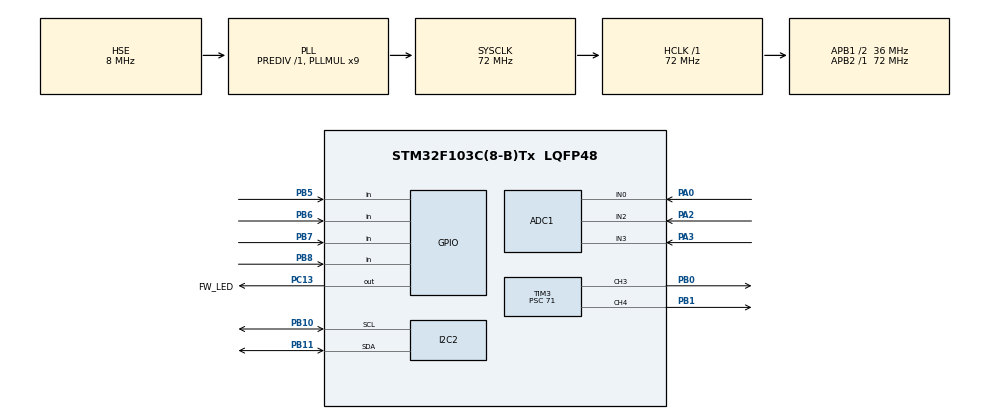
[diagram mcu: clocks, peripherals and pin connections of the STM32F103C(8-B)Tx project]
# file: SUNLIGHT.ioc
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ADC1.Channel-0\#ChannelRegularConversion=ADC_CHANNEL_0
ADC1.NbrOfConversionFlag=1
ADC1.Rank-0\#ChannelRegularConversion=1
ADC1.SamplingTime-0\#ChannelRegularConversion=ADC_SAMPLETIME_55CYCLES_5
ADC1.master=1
Mcu.Family=STM32F1
Mcu.Name=STM32F103C(8-B)Tx
Mcu.Package=LQFP48
NVIC.PriorityGroup=NVIC_PRIORITYGROUP_4
NVIC.TIM1_UP_IRQn=true\:0\:0\:false\:false\:true\:true\:true\:true
PA0-WKUP.Signal=ADCx_IN0
PA13.Mode=Serial_Wire
PA13.Signal=SYS_JTMS-SWDIO
PA14.Mode=Serial_Wire
PA14.Signal=SYS_JTCK-SWCLK
PA2.Signal=ADCx_IN2
PA3.Signal=ADCx_IN3
PB0.Signal=S_TIM3_CH3
PB1.Signal=S_TIM3_CH4
PB10.Mode=I2C
PB10.Signal=I2C2_SCL
PB11.Mode=I2C
PB11.Signal=I2C2_SDA
PB5.GPIO_PuPd=GPIO_NOPULL
PB5.Signal=GPIO_Input
PB6.GPIO_PuPd=GPIO_NOPULL
PB6.Signal=GPIO_Input
PB7.GPIO_PuPd=GPIO_NOPULL
PB7.Signal=GPIO_Input
PB8.GPIO_PuPd=GPIO_NOPULL
PB8.Signal=GPIO_Input
PC13-TAMPER-RTC.GPIO_Label=FW_LED
PC13-TAMPER-RTC.PinState=GPIO_PIN_SET
PC13-TAMPER-RTC.Signal=GPIO_Output
PD0-OSC_IN.Mode=HSE-External-Oscillator
PD0-OSC_IN.Signal=RCC_OSC_IN
PD1-OSC_OUT.Mode=HSE-External-Oscillator
PD1-OSC_OUT.Signal=RCC_OSC_OUT
ProjectManager.HeapSize=0x200
ProjectManager.StackSize=0x400
ProjectManager.TargetToolchain=MDK-ARM V5.32
RCC.ADCPresc=RCC_ADCPCLK2_DIV6
RCC.AHBFreq_Value=72000000
RCC.APB1CLKDivider=RCC_HCLK_DIV2
RCC.APB1Freq_Value=36000000
RCC.APB1TimFreq_Value=72000000
RCC.APB2Freq_Value=72000000
RCC.APB2TimFreq_Value=72000000
RCC.HCLKFreq_Value=72000000
RCC.PLLMUL=RCC_PLL_MUL9
RCC.PLLSourceVirtual=RCC_PLLSOURCE_HSE
RCC.SYSCLKFreq_VALUE=72000000
RCC.SYSCLKSource=RCC_SYSCLKSOURCE_PLLCLK
RCC.USBFreq_Value=72000000
SH.ADCx_IN0.0=ADC1_IN0,IN0
SH.ADCx_IN2.0=ADC1_IN2,IN2
SH.ADCx_IN3.0=ADC1_IN3,IN3
SH.S_TIM3_CH3.0=TIM3_CH3,PWM Generation3 CH3
SH.S_TIM3_CH4.0=TIM3_CH4,PWM Generation4 CH4
TIM1.Period=9999
TIM1.Prescaler=71
TIM3.Channel-PWM\ Generation3\ CH3=TIM_CHANNEL_3
TIM3.Channel-PWM\ Generation4\ CH4=TIM_CHANNEL_4
TIM3.Period=999
TIM3.Prescaler=71
VP_TIM1_VS_ClockSourceINT.Mode=Internal
board=custom

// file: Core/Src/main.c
/* USER CODE BEGIN Header */
/**
  ******************************************************************************
  * @file           : main.c
  * @brief          : Main program body
  ******************************************************************************
  * @attention
  *
  * Copyright (c) 2026 STMicroelectronics.
  * All rights reserved.
  *
  * This software is licensed under terms that can be found in the LICENSE file
  * in the root directory of this software component.
  * If no LICENSE file comes with this software, it is provided AS-IS.
  *
  ******************************************************************************
  */
/* USER CODE END Header */
#include "main.h"
#include "adc.h"
#include "i2c.h"
#include "tim.h"
#include "gpio.h"

/* USER CODE BEGIN Includes */
#include "sunlight_r12.h"
/* USER CODE END Includes */

void SystemClock_Config(void);

int main(void)
{

  /* MCU Configuration--------------------------------------------------------*/

  /* Reset of all peripherals, Initializes the Flash interface and the Systick. */
  HAL_Init();

  /* USER CODE BEGIN Init */
  /* 设置功率通路安全初值。 */
  SunlightR12_PreClockInit();
  /* USER CODE END Init */

  /* Configure the system clock */
  SystemClock_Config();

  /* USER CODE BEGIN SysInit */
  /* 进入 R12 主控制模块。 */
  SunlightR12_Run();
  /* USER CODE END SysInit */

  /* Initialize all configured peripherals */
  MX_GPIO_Init();
  MX_ADC1_Init();
  MX_I2C2_Init();
  MX_TIM3_Init();
  MX_TIM1_Init();

  /* Infinite loop */
  while (1)
  {

  }
}

void SystemClock_Config(void)
{
  RCC_OscInitTypeDef RCC_OscInitStruct = {0};
  RCC_ClkInitTypeDef RCC_ClkInitStruct = {0};
  RCC_PeriphCLKInitTypeDef PeriphClkInit = {0};

  /** Initializes the RCC Oscillators according to the specified parameters
  * in the RCC_OscInitTypeDef structure.
  */
  RCC_OscInitStruct.OscillatorType = RCC_OSCILLATORTYPE_HSE;
  RCC_OscInitStruct.HSEState = RCC_HSE_ON;
  RCC_OscInitStruct.HSEPredivValue = RCC_HSE_PREDIV_DIV1;
  RCC_OscInitStruct.HSIState = RCC_HSI_ON;
  RCC_OscInitStruct.PLL.PLLState = RCC_PLL_ON;
  RCC_OscInitStruct.PLL.PLLSource = RCC_PLLSOURCE_HSE;
  RCC_OscInitStruct.PLL.PLLMUL = RCC_PLL_MUL9;
  if (HAL_RCC_OscConfig(&RCC_OscInitStruct) != HAL_OK)
  {
    Error_Handler();
  }

  /** Initializes the CPU, AHB and APB buses clocks
  */
  RCC_ClkInitStruct.ClockType = RCC_CLOCKTYPE_HCLK|RCC_CLOCKTYPE_SYSCLK
                              |RCC_CLOCKTYPE_PCLK1|RCC_CLOCKTYPE_PCLK2;
  RCC_ClkInitStruct.SYSCLKSource = RCC_SYSCLKSOURCE_PLLCLK;
  RCC_ClkInitStruct.AHBCLKDivider = RCC_SYSCLK_DIV1;
  RCC_ClkInitStruct.APB1CLKDivider = RCC_HCLK_DIV2;
  RCC_ClkInitStruct.APB2CLKDivider = RCC_HCLK_DIV1;

  if (HAL_RCC_ClockConfig(&RCC_ClkInitStruct, FLASH_LATENCY_2) != HAL_OK)
  {
    Error_Handler();
  }
  PeriphClkInit.PeriphClockSelection = RCC_PERIPHCLK_ADC;
  PeriphClkInit.AdcClockSelection = RCC_ADCPCLK2_DIV6;
  if (HAL_RCCEx_PeriphCLKConfig(&PeriphClkInit) != HAL_OK)
  {
    Error_Handler();
  }
}

void Error_Handler(void)
{
  /* USER CODE BEGIN Error_Handler_Debug */
  /* User can add his own implementation to report the HAL error return state */
  GPIO_InitTypeDef gpio = {0};
  volatile uint32_t fault_delay;

  /* 故障时关闭功率输出并快闪 PC13。 */
  __HAL_RCC_GPIOB_CLK_ENABLE();
  __HAL_RCC_GPIOC_CLK_ENABLE();
  HAL_GPIO_WritePin(GPIOB, GPIO_PIN_0, GPIO_PIN_RESET);
  HAL_GPIO_WritePin(GPIOB, GPIO_PIN_1, GPIO_PIN_SET);
  gpio.Pin = GPIO_PIN_0 | GPIO_PIN_1;
  gpio.Mode = GPIO_MODE_OUTPUT_PP;
  gpio.Pull = GPIO_NOPULL;
  gpio.Speed = GPIO_SPEED_FREQ_HIGH;
  HAL_GPIO_Init(GPIOB, &gpio);

  HAL_GPIO_WritePin(FW_LED_GPIO_Port, FW_LED_Pin, GPIO_PIN_SET);
  gpio.Pin = FW_LED_Pin;
  gpio.Mode = GPIO_MODE_OUTPUT_PP;
  gpio.Pull = GPIO_NOPULL;
  gpio.Speed = GPIO_SPEED_FREQ_LOW;
  HAL_GPIO_Init(FW_LED_GPIO_Port, &gpio);

  __disable_irq();
  while (1)
  {
    HAL_GPIO_TogglePin(FW_LED_GPIO_Port, FW_LED_Pin);
    for (fault_delay = 0U; fault_delay < 1800000U; fault_delay++)
    {
      __NOP();
    }
  }
  /* USER CODE END Error_Handler_Debug */
}
